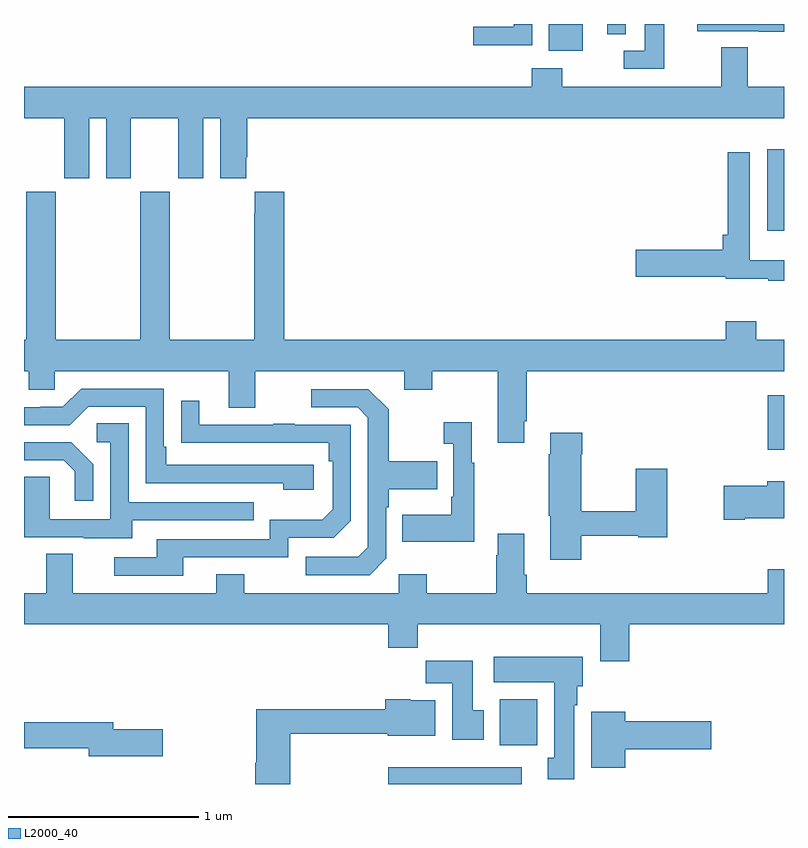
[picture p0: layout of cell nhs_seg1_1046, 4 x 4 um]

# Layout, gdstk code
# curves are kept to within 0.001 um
import gdstk
lib = gdstk.Library(unit=1e-6, precision=1e-09)
def R(c, l, rs):  # rectangles x0, y0, x1, y1
    for r in rs: c.add(gdstk.rectangle(r[:2], r[2:], *l))
def P(c, l, *ps):  # polygons
    for p in ps: c.add(gdstk.Polygon(p, *l))
L2000_40 = (2000, 40)

nhs_seg1_1046 = lib.new_cell('nhs_seg1_1046')
R(nhs_seg1_1046, L2000_40, [(168.917,576.199,169.621,576.286), (169.505,576.404,169.702,576.646), (170.915,577.958,171,578.245), (170.912,579.111,171,579.541), (169.763,580.058,169.942,580.199), (170.07,580.144,170.166,580.199)])
P(nhs_seg1_1046, L2000_40, [(171,580.199),(170.543,580.199),(170.543,580.161),(170.867,580.161),(170.867,580.157),(171,580.157)],
  [(170.371,580.199),(170.267,580.199),(170.267,580.059),(170.157,580.059),(170.157,579.963),(170.371,579.963)],
  [(169.674,580.199),(169.578,580.199),(169.578,580.185),(169.365,580.185),(169.365,580.087),(169.674,580.087)],
  [(167.344,579.704),(167.432,579.704),(167.432,579.387),(167.563,579.387),(167.563,579.704),(167.813,579.704),(167.813,579.387),(167.944,579.387),(167.944,579.704),(168.032,579.704),(168.032,579.387),(168.169,579.387),(168.169,579.499),(168.176,579.499),(168.176,579.704),(171,579.704),(171,579.868),(170.809,579.868),(170.809,580.076),(170.669,580.076),(170.669,579.868),(169.833,579.868),(169.833,579.967),(169.673,579.967),(169.673,579.868),(167,579.868),(167,579.704),(167.213,579.704),(167.213,579.387),(167.344,579.387)],
  [(171,578.956),(170.82,578.956),(170.82,579.523),(170.704,579.523),(170.704,579.091),(170.678,579.091),(170.678,579.011),(170.22,579.011),(170.22,578.869),(170.694,578.869),(170.694,578.857),(170.917,578.857),(170.917,578.847),(171,578.847)],
  [(169.633,578.107),(169.646,578.107),(169.646,578.372),(171,578.372),(171,578.536),(170.853,578.536),(170.853,578.635),(170.693,578.635),(170.693,578.536),(168.371,578.536),(168.371,579.316),(168.215,579.316),(168.215,579.203),(168.211,579.203),(168.211,578.536),(167.766,578.536),(167.766,579.316),(167.611,579.316),(167.611,578.536),(167.166,578.536),(167.166,579.316),(167.011,579.316),(167.011,578.536),(167,578.536),(167,578.372),(167.025,578.372),(167.025,578.274),(167.163,578.274),(167.163,578.372),(168.077,578.372),(168.077,578.178),(168.217,578.178),(168.217,578.372),(169.001,578.372),(169.001,578.273),(169.149,578.273),(169.149,578.372),(169.493,578.372),(169.493,577.995),(169.633,577.995)],
  [(168.526,577.878),(167.749,577.878),(167.749,577.975),(167.736,577.975),(167.736,578.28),(167.301,578.28),(167.205,578.184),(167.087,578.184),(167.087,578.181),(167,578.181),(167,578.088),(167.241,578.088),(167.337,578.184),(167.64,578.184),(167.64,577.782),(168.365,577.782),(168.365,577.748),(168.526,577.748)],
  [(168.906,577.386),(168.906,577.655),(168.919,577.655),(168.919,577.751),(169.175,577.751),(169.175,577.899),(168.919,577.899),(168.919,578.171),(168.813,578.277),(168.513,578.277),(168.513,578.181),(168.756,578.181),(168.81,578.127),(168.81,577.446),(168.759,577.395),(168.483,577.395),(168.483,577.299),(168.819,577.299)],
  [(167.839,577.392),(168.39,577.392),(168.39,577.494),(168.63,577.494),(168.72,577.584),(168.72,578.091),(168.425,578.091),(168.425,578.096),(168.313,578.096),(168.313,578.091),(167.923,578.091),(167.923,578.215),(167.827,578.215),(167.827,577.996),(168.604,577.995),(168.604,577.898),(168.624,577.898),(168.624,577.644),(168.571,577.591),(168.294,577.591),(168.294,577.488),(167.699,577.488),(167.699,577.392),(167.475,577.392),(167.475,577.296),(167.839,577.296)],
  [(169.369,577.891),(169.357,577.891),(169.357,578.104),(169.209,578.104),(169.209,577.991),(169.26,577.991),(169.26,577.711),(169.248,577.711),(169.248,577.615),(168.991,577.615),(168.991,577.475),(169.369,577.475)],
  [(167.569,577.587),(168.209,577.587),(168.209,577.683),(167.55,577.683),(167.55,578.099),(167.382,578.099),(167.382,577.998),(167.454,577.998),(167.454,577.593),(167.136,577.593),(167.136,577.817),(167,577.817),(167,577.497),(167.315,577.497),(167.315,577.493),(167.569,577.493)],
  [(169.932,577.506),(170.232,577.506),(170.232,577.498),(170.386,577.498),(170.386,577.858),(170.221,577.858),(170.221,577.634),(169.932,577.634),(169.932,577.934),(169.937,577.934),(169.937,578.047),(169.769,578.047),(169.769,577.934),(169.762,577.934),(169.762,577.611),(169.769,577.611),(169.769,577.38),(169.932,577.38)],
  [(167.364,577.882),(167.248,577.998),(167,577.998),(167,577.902),(167.21,577.902),(167.267,577.845),(167.267,577.689),(167.364,577.689)],
  [(170.794,577.598),(171,577.598),(171,577.792),(170.912,577.792),(170.912,577.769),(170.682,577.769),(170.682,577.591),(170.794,577.591)],
  [(170.186,577.04),(171,577.04),(171,577.328),(170.915,577.328),(170.915,577.204),(169.646,577.204),(169.646,577.3),(169.633,577.3),(169.633,577.516),(169.493,577.516),(169.493,577.403),(169.486,577.403),(169.486,577.204),(169.119,577.204),(169.119,577.303),(168.972,577.303),(168.972,577.204),(168.159,577.204),(168.159,577.303),(168.011,577.303),(168.011,577.204),(167.257,577.204),(167.257,577.412),(167.117,577.412),(167.117,577.204),(167,577.204),(167,577.04),(168.917,577.04),(168.917,576.916),(169.073,576.916),(169.073,577.04),(170.033,577.04),(170.033,576.846),(170.186,576.846)],
  [(169.897,576.614),(169.912,576.614),(169.912,576.714),(169.942,576.714),(169.942,576.868),(169.473,576.868),(169.473,576.734),(169.79,576.734),(169.79,576.338),(169.757,576.338),(169.757,576.225),(169.897,576.225)],
  [(169.42,576.588),(169.363,576.588),(169.363,576.847),(169.114,576.847),(169.114,576.728),(169.253,576.728),(169.253,576.432),(169.42,576.432)],
  [(168.401,576.463),(168.914,576.463),(168.914,576.452),(169.165,576.452),(169.165,576.64),(169.032,576.64),(169.032,576.646),(168.902,576.646),(168.902,576.592),(168.223,576.592),(168.223,576.31),(168.218,576.31),(168.218,576.199),(168.401,576.199)],
  [(170.164,576.383),(170.617,576.383),(170.617,576.53),(170.164,576.53),(170.164,576.58),(169.985,576.58),(169.985,576.284),(170.164,576.284)],
  [(167.731,576.488),(167.47,576.488),(167.47,576.524),(167,576.524),(167,576.388),(167.342,576.388),(167.342,576.346),(167.731,576.346)])

lib.write_gds('nhs_seg1_1046.gds')
